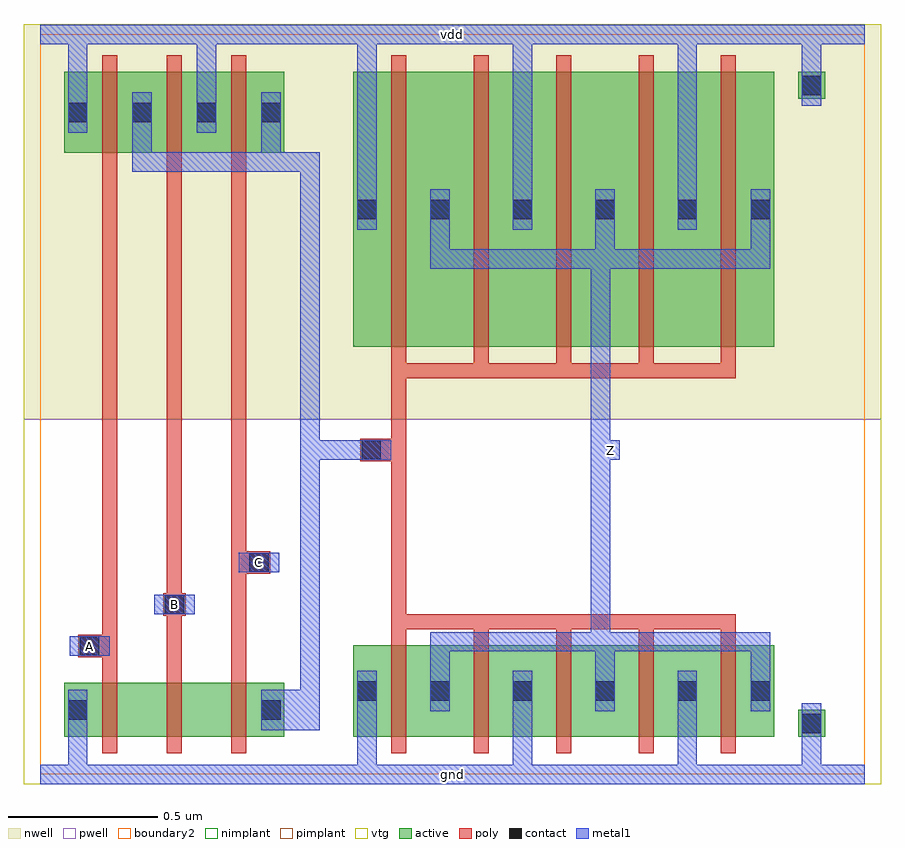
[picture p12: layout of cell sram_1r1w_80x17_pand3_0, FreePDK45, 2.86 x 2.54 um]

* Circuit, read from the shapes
.subckt sram_1r1w_80x17_pand3_0 A B C Z gnd vdd
M1 sram_1r1w_80x17_pnand3_0_0/sram_1r1w_80x17_nmos_m1_w0_180_sm1_dactive_3/D A gnd gnd nfet w=0.18u l=0.05u
M2 sram_1r1w_80x17_pnand3_0_0/sram_1r1w_80x17_nmos_m1_w0_180_sactive_dactive_4/D B sram_1r1w_80x17_pnand3_0_0/sram_1r1w_80x17_nmos_m1_w0_180_sm1_dactive_3/D gnd nfet w=0.18u l=0.05u
M3 sram_1r1w_80x17_pdriver_3_1/A C sram_1r1w_80x17_pnand3_0_0/sram_1r1w_80x17_nmos_m1_w0_180_sactive_dactive_4/D gnd nfet w=0.18u l=0.05u
M4 Z sram_1r1w_80x17_pdriver_3_1/A gnd gnd nfet w=0.305u l=0.05u m=5
M5 sram_1r1w_80x17_pdriver_3_1/A A vdd vdd pfet w=0.27u l=0.05u
M6 vdd B sram_1r1w_80x17_pdriver_3_1/A vdd pfet w=0.27u l=0.05u
M7 sram_1r1w_80x17_pdriver_3_1/A C vdd vdd pfet w=0.27u l=0.05u
M8 Z sram_1r1w_80x17_pdriver_3_1/A vdd vdd pfet w=0.9175u l=0.05u m=5
.ends

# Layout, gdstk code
import gdstk
lib = gdstk.Library(unit=1e-6, precision=5e-10)
def R(c, l, rs):  # rectangles x0, y0, x1, y1
    for r in rs: c.add(gdstk.rectangle(r[:2], r[2:], *l))
def A(c, l, x, y, w, h, nx, ny, dx, dy):  # array of equal rectangles
    R(c, l, [(x+i*dx, y+j*dy, x+i*dx+w, y+j*dy+h) for i in range(nx) for j in range(ny)])
active = (1, 0)
pwell = (2, 0)
nwell = (3, 0)
nimplant = (4, 0)
pimplant = (5, 0)
vtg = (6, 0)
poly = (9, 0)
contact = (10, 0)
metal1 = (11, 0)
boundary2 = (239, 0)

sram_1r1w_80x17_contact_ = lib.new_cell('sram_1r1w_80x17_contact_11')
R(sram_1r1w_80x17_contact_, active, [(0,0.0225,0.09,0.1125)])
R(sram_1r1w_80x17_contact_, nwell, [(-0.055,-0.0325,0.145,0.1675)])
R(sram_1r1w_80x17_contact_, pimplant, [(0,0.0225,0.09,0.1125)])
R(sram_1r1w_80x17_contact_, contact, [(0.0125,0.035,0.0775,0.1)])
R(sram_1r1w_80x17_contact_, metal1, [(0.0125,0,0.0775,0.135)])
R(sram_1r1w_80x17_contact_, boundary2, [(-0.055,-0.0325,0.145,0.1675)])

sram_1r1w_80x17_pmos_m1_ = lib.new_cell('sram_1r1w_80x17_pmos_m1_w0_270_sm1_dm1')
R(sram_1r1w_80x17_pmos_m1_, active, [(0,0,0.305,0.27)])
R(sram_1r1w_80x17_pmos_m1_, nwell, [(-0.08,-0.08,0.385,0.35)])
R(sram_1r1w_80x17_pmos_m1_, pimplant, [(0,0,0.305,0.27)])
R(sram_1r1w_80x17_pmos_m1_, vtg, [(-0.08,-0.08,0.385,0.35)])
R(sram_1r1w_80x17_pmos_m1_, poly, [(0.1275,-0.055,0.1775,0.325), (0.1275,-0.055,0.1775,0.325)])
R(sram_1r1w_80x17_pmos_m1_, metal1, [(0.0125,0.0675,0.0775,0.2025), (0.2275,0.0675,0.2925,0.2025)])
R(sram_1r1w_80x17_pmos_m1_, boundary2, [(-0.08,-0.08,0.385,0.35)])
sram_1r1w_80x17_pmos_m1_.add(gdstk.Reference(sram_1r1w_80x17_contact_, (0,0.0675)))
sram_1r1w_80x17_pmos_m1_.add(gdstk.Reference(sram_1r1w_80x17_contact_, (0.215,0.0675)))
sram_1r1w_80x17_pmos_m1_.add(gdstk.Label('G', (0.1525,0.135), layer=9, texttype=0))
sram_1r1w_80x17_pmos_m1_.add(gdstk.Label('S', (0.045,0.135), layer=11, texttype=0))
sram_1r1w_80x17_pmos_m1_.add(gdstk.Label('D', (0.26,0.135), layer=11, texttype=0))

c_sram_1r1w_80x17_contact_ = lib.new_cell('sram_1r1w_80x17_contact_10')
R(c_sram_1r1w_80x17_contact_, active, [(0,0.0225,0.09,0.1125)])
R(c_sram_1r1w_80x17_contact_, pwell, [(-0.055,-0.0325,0.145,0.1675)])
R(c_sram_1r1w_80x17_contact_, nimplant, [(0,0.0225,0.09,0.1125)])
R(c_sram_1r1w_80x17_contact_, contact, [(0.0125,0.035,0.0775,0.1)])
R(c_sram_1r1w_80x17_contact_, metal1, [(0.0125,0,0.0775,0.135)])
R(c_sram_1r1w_80x17_contact_, boundary2, [(-0.055,-0.0325,0.145,0.1675)])

sram_1r1w_80x17_nmos_m1_ = lib.new_cell('sram_1r1w_80x17_nmos_m1_w0_180_sm1_dactive')
R(sram_1r1w_80x17_nmos_m1_, active, [(0,0,0.305,0.18), (0.215,0.045,0.305,0.135)])
R(sram_1r1w_80x17_nmos_m1_, pwell, [(-0.08,-0.08,0.385,0.26)])
R(sram_1r1w_80x17_nmos_m1_, nimplant, [(0,0,0.305,0.18)])
R(sram_1r1w_80x17_nmos_m1_, vtg, [(-0.08,-0.08,0.385,0.26)])
R(sram_1r1w_80x17_nmos_m1_, poly, [(0.1275,-0.055,0.1775,0.235), (0.1275,-0.055,0.1775,0.235)])
R(sram_1r1w_80x17_nmos_m1_, metal1, [(0.0125,0.0225,0.0775,0.1575)])
R(sram_1r1w_80x17_nmos_m1_, boundary2, [(-0.08,-0.08,0.385,0.26)])
sram_1r1w_80x17_nmos_m1_.add(gdstk.Reference(c_sram_1r1w_80x17_contact_, (0,0.0225)))
sram_1r1w_80x17_nmos_m1_.add(gdstk.Label('G', (0.1525,0.09), layer=9, texttype=0))
sram_1r1w_80x17_nmos_m1_.add(gdstk.Label('S', (0.045,0.09), layer=11, texttype=0))
sram_1r1w_80x17_nmos_m1_.add(gdstk.Label('D', (0.26,0.09), layer=1, texttype=0))

c_sram_1r1w_80x17_nmos_m1_ = lib.new_cell('sram_1r1w_80x17_nmos_m1_w0_180_sactive_dactive')
R(c_sram_1r1w_80x17_nmos_m1_, active, [(0,0,0.305,0.18), (0,0.045,0.09,0.135), (0.215,0.045,0.305,0.135)])
R(c_sram_1r1w_80x17_nmos_m1_, pwell, [(-0.08,-0.08,0.385,0.26)])
R(c_sram_1r1w_80x17_nmos_m1_, nimplant, [(0,0,0.305,0.18)])
R(c_sram_1r1w_80x17_nmos_m1_, vtg, [(-0.08,-0.08,0.385,0.26)])
R(c_sram_1r1w_80x17_nmos_m1_, poly, [(0.1275,-0.055,0.1775,0.235), (0.1275,-0.055,0.1775,0.235)])
R(c_sram_1r1w_80x17_nmos_m1_, boundary2, [(-0.08,-0.08,0.385,0.26)])
c_sram_1r1w_80x17_nmos_m1_.add(gdstk.Label('G', (0.1525,0.09), layer=9, texttype=0))
c_sram_1r1w_80x17_nmos_m1_.add(gdstk.Label('S', (0.045,0.09), layer=1, texttype=0))
c_sram_1r1w_80x17_nmos_m1_.add(gdstk.Label('D', (0.26,0.09), layer=1, texttype=0))

c_sram_1r1w_80x17_nmos_m1__ = lib.new_cell('sram_1r1w_80x17_nmos_m1_w0_180_sactive_dm1')
R(c_sram_1r1w_80x17_nmos_m1__, active, [(0,0,0.305,0.18), (0,0.045,0.09,0.135)])
R(c_sram_1r1w_80x17_nmos_m1__, pwell, [(-0.08,-0.08,0.385,0.26)])
R(c_sram_1r1w_80x17_nmos_m1__, nimplant, [(0,0,0.305,0.18)])
R(c_sram_1r1w_80x17_nmos_m1__, vtg, [(-0.08,-0.08,0.385,0.26)])
R(c_sram_1r1w_80x17_nmos_m1__, poly, [(0.1275,-0.055,0.1775,0.235), (0.1275,-0.055,0.1775,0.235)])
R(c_sram_1r1w_80x17_nmos_m1__, metal1, [(0.2275,0.0225,0.2925,0.1575)])
R(c_sram_1r1w_80x17_nmos_m1__, boundary2, [(-0.08,-0.08,0.385,0.26)])
c_sram_1r1w_80x17_nmos_m1__.add(gdstk.Reference(c_sram_1r1w_80x17_contact_, (0.215,0.0225)))
c_sram_1r1w_80x17_nmos_m1__.add(gdstk.Label('G', (0.1525,0.09), layer=9, texttype=0))
c_sram_1r1w_80x17_nmos_m1__.add(gdstk.Label('S', (0.045,0.09), layer=1, texttype=0))
c_sram_1r1w_80x17_nmos_m1__.add(gdstk.Label('D', (0.26,0.09), layer=11, texttype=0))

c_sram_1r1w_80x17_contact__ = lib.new_cell('sram_1r1w_80x17_contact_14')
R(c_sram_1r1w_80x17_contact__, poly, [(0.03,0,0.105,0.075)])
R(c_sram_1r1w_80x17_contact__, contact, [(0.035,0.005,0.1,0.07)])
R(c_sram_1r1w_80x17_contact__, metal1, [(0,0.005,0.135,0.07)])
R(c_sram_1r1w_80x17_contact__, boundary2, [(0,0,0.135,0.075)])

sram_1r1w_80x17_pnand3_0 = lib.new_cell('sram_1r1w_80x17_pnand3_0')
R(sram_1r1w_80x17_pnand3_0, pwell, [(-0.055,-0.0325,1.02,1.185)])
R(sram_1r1w_80x17_pnand3_0, nwell, [(-0.055,1.185,1.02,2.505)])
R(sram_1r1w_80x17_pnand3_0, vtg, [(-0.055,-0.0325,1.02,1.185), (-0.055,1.185,1.02,2.505)])
A(sram_1r1w_80x17_pnand3_0, poly, 0.2075, 0.36, 0.05, 1.66, 3, 1, 0.215, 0)
R(sram_1r1w_80x17_pnand3_0, poly, [(0.165,0.39,0.2075,0.465), (0.4225,0.53,0.4475,0.605), (0.6375,0.67,0.73,0.745)])
R(sram_1r1w_80x17_pnand3_0, metal1, [(0,-0.0325,0.965,0.0325), (0.0925,-0.0325,0.1575,0.1475), (0.77,0.1475,0.9,0.2825), (0.8675,0.1475,0.9325,2.045), (0.0975,0.395,0.2325,0.46), (0.38,0.535,0.515,0.6), (0.6625,0.675,0.7975,0.74), (0.3075,2.0125,0.3725,2.0775), (0.34,2.0125,0.9,2.0775), (0.7375,2.0125,0.8025,2.0775), (0.77,2.0125,0.9,2.0775), (0.8675,2.0125,0.9325,2.0775), (0.3075,2.045,0.3725,2.21), (0.7375,2.045,0.8025,2.21), (0.0925,2.1425,0.1575,2.5025), (0.5225,2.1425,0.5875,2.5025), (0,2.4375,0.965,2.5025)])
R(sram_1r1w_80x17_pnand3_0, boundary2, [(0,0,0.965,2.47), (0,0,0.965,2.47)])
sram_1r1w_80x17_pnand3_0.add(gdstk.Reference(sram_1r1w_80x17_pmos_m1_, (0.08,2.075)))
sram_1r1w_80x17_pnand3_0.add(gdstk.Reference(sram_1r1w_80x17_pmos_m1_, (0.295,2.075)))
sram_1r1w_80x17_pnand3_0.add(gdstk.Reference(sram_1r1w_80x17_pmos_m1_, (0.51,2.075)))
sram_1r1w_80x17_pnand3_0.add(gdstk.Reference(sram_1r1w_80x17_nmos_m1_, (0.08,0.125)))
sram_1r1w_80x17_pnand3_0.add(gdstk.Reference(c_sram_1r1w_80x17_nmos_m1_, (0.295,0.125)))
sram_1r1w_80x17_pnand3_0.add(gdstk.Reference(c_sram_1r1w_80x17_nmos_m1__, (0.51,0.125)))
sram_1r1w_80x17_pnand3_0.add(gdstk.Reference(c_sram_1r1w_80x17_contact__, (0.0975,0.39)))
sram_1r1w_80x17_pnand3_0.add(gdstk.Reference(c_sram_1r1w_80x17_contact__, (0.38,0.53)))
sram_1r1w_80x17_pnand3_0.add(gdstk.Reference(c_sram_1r1w_80x17_contact__, (0.6625,0.67)))
sram_1r1w_80x17_pnand3_0.add(gdstk.Label('A', (0.165,0.4275), layer=11, texttype=0))
sram_1r1w_80x17_pnand3_0.add(gdstk.Label('B', (0.4475,0.5675), layer=11, texttype=0))
sram_1r1w_80x17_pnand3_0.add(gdstk.Label('C', (0.73,0.7075), layer=11, texttype=0))
sram_1r1w_80x17_pnand3_0.add(gdstk.Label('Z', (0.9,2.045), layer=11, texttype=0))
sram_1r1w_80x17_pnand3_0.add(gdstk.Label('gnd', (0.4825,0), layer=11, texttype=0))
sram_1r1w_80x17_pnand3_0.add(gdstk.Label('vdd', (0.4825,2.47), layer=11, texttype=0))

sram_1r1w_80x17_pmos_m5_ = lib.new_cell('sram_1r1w_80x17_pmos_m5_w0_917_sm1_dm1_da_p')
R(sram_1r1w_80x17_pmos_m5_, active, [(0,0,1.405,0.9175)])
R(sram_1r1w_80x17_pmos_m5_, nwell, [(-0.08,-0.08,1.485,0.9975)])
R(sram_1r1w_80x17_pmos_m5_, pimplant, [(0,0,1.405,0.9175)])
R(sram_1r1w_80x17_pmos_m5_, vtg, [(-0.08,-0.08,1.485,0.9975)])
A(sram_1r1w_80x17_pmos_m5_, poly, 0.1275, -0.055, 0.05, 1.0275, 5, 1, 0.275, 0)
R(sram_1r1w_80x17_pmos_m5_, poly, [(0.1275,-0.105,1.2775,-0.055)])
R(sram_1r1w_80x17_pmos_m5_, metal1, [(0.2575,0.26,1.3925,0.325), (0.2575,0.295,0.3225,0.46), (0.8075,0.295,0.8725,0.46), (1.3275,0.295,1.3925,0.46), (0.0125,0.39,0.0775,0.525), (0.5325,0.39,0.5975,0.525), (1.0825,0.39,1.1475,0.525)])
R(sram_1r1w_80x17_pmos_m5_, boundary2, [(-0.08,-0.105,1.485,0.9975)])
sram_1r1w_80x17_pmos_m5_.add(gdstk.Reference(sram_1r1w_80x17_contact_, (0,0.39)))
sram_1r1w_80x17_pmos_m5_.add(gdstk.Reference(sram_1r1w_80x17_contact_, (0.245,0.39)))
sram_1r1w_80x17_pmos_m5_.add(gdstk.Reference(sram_1r1w_80x17_contact_, (0.52,0.39)))
sram_1r1w_80x17_pmos_m5_.add(gdstk.Reference(sram_1r1w_80x17_contact_, (0.795,0.39)))
sram_1r1w_80x17_pmos_m5_.add(gdstk.Reference(sram_1r1w_80x17_contact_, (1.07,0.39)))
sram_1r1w_80x17_pmos_m5_.add(gdstk.Reference(sram_1r1w_80x17_contact_, (1.315,0.39)))
sram_1r1w_80x17_pmos_m5_.add(gdstk.Label('G', (0.7025,-0.08), layer=9, texttype=0))
sram_1r1w_80x17_pmos_m5_.add(gdstk.Label('S', (1.115,0.4575), layer=11, texttype=0))
sram_1r1w_80x17_pmos_m5_.add(gdstk.Label('S', (0.565,0.4575), layer=11, texttype=0))
sram_1r1w_80x17_pmos_m5_.add(gdstk.Label('S', (0.045,0.4575), layer=11, texttype=0))
sram_1r1w_80x17_pmos_m5_.add(gdstk.Label('D', (0.825,0.2925), layer=11, texttype=0))

sram_1r1w_80x17_nmos_m5_ = lib.new_cell('sram_1r1w_80x17_nmos_m5_w0_305_sm1_dm1_da_p')
R(sram_1r1w_80x17_nmos_m5_, active, [(0,0,1.405,0.305)])
R(sram_1r1w_80x17_nmos_m5_, pwell, [(-0.08,-0.08,1.485,0.385)])
R(sram_1r1w_80x17_nmos_m5_, nimplant, [(0,0,1.405,0.305)])
R(sram_1r1w_80x17_nmos_m5_, vtg, [(-0.08,-0.08,1.485,0.385)])
A(sram_1r1w_80x17_nmos_m5_, poly, 0.1275, -0.055, 0.05, 0.415, 5, 1, 0.275, 0)
R(sram_1r1w_80x17_nmos_m5_, poly, [(0.1275,0.36,1.2775,0.41)])
R(sram_1r1w_80x17_nmos_m5_, metal1, [(0.0125,0.085,0.0775,0.22), (0.5325,0.085,0.5975,0.22), (1.0825,0.085,1.1475,0.22), (0.2575,0.1525,0.3225,0.3175), (0.8075,0.1525,0.8725,0.3175), (1.3275,0.1525,1.3925,0.3175), (0.2575,0.285,1.3925,0.35)])
R(sram_1r1w_80x17_nmos_m5_, boundary2, [(-0.08,-0.08,1.485,0.41)])
sram_1r1w_80x17_nmos_m5_.add(gdstk.Reference(c_sram_1r1w_80x17_contact_, (0,0.085)))
sram_1r1w_80x17_nmos_m5_.add(gdstk.Reference(c_sram_1r1w_80x17_contact_, (0.245,0.085)))
sram_1r1w_80x17_nmos_m5_.add(gdstk.Reference(c_sram_1r1w_80x17_contact_, (0.52,0.085)))
sram_1r1w_80x17_nmos_m5_.add(gdstk.Reference(c_sram_1r1w_80x17_contact_, (0.795,0.085)))
sram_1r1w_80x17_nmos_m5_.add(gdstk.Reference(c_sram_1r1w_80x17_contact_, (1.07,0.085)))
sram_1r1w_80x17_nmos_m5_.add(gdstk.Reference(c_sram_1r1w_80x17_contact_, (1.315,0.085)))
sram_1r1w_80x17_nmos_m5_.add(gdstk.Label('G', (0.7025,0.385), layer=9, texttype=0))
sram_1r1w_80x17_nmos_m5_.add(gdstk.Label('S', (0.045,0.1525), layer=11, texttype=0))
sram_1r1w_80x17_nmos_m5_.add(gdstk.Label('S', (1.115,0.1525), layer=11, texttype=0))
sram_1r1w_80x17_nmos_m5_.add(gdstk.Label('S', (0.565,0.1525), layer=11, texttype=0))
sram_1r1w_80x17_nmos_m5_.add(gdstk.Label('D', (0.825,0.3175), layer=11, texttype=0))

c_sram_1r1w_80x17_contact___ = lib.new_cell('sram_1r1w_80x17_contact_12')
R(c_sram_1r1w_80x17_contact___, active, [(0,0.0225,0.09,0.1125)])
R(c_sram_1r1w_80x17_contact___, nwell, [(-0.055,-0.0325,0.145,0.1675)])
R(c_sram_1r1w_80x17_contact___, nimplant, [(0,0.0225,0.09,0.1125)])
R(c_sram_1r1w_80x17_contact___, contact, [(0.0125,0.035,0.0775,0.1)])
R(c_sram_1r1w_80x17_contact___, metal1, [(0.0125,0,0.0775,0.135)])
R(c_sram_1r1w_80x17_contact___, boundary2, [(-0.055,-0.0325,0.145,0.1675)])

c_sram_1r1w_80x17_contact____ = lib.new_cell('sram_1r1w_80x17_contact_13')
R(c_sram_1r1w_80x17_contact____, active, [(0,0.0225,0.09,0.1125)])
R(c_sram_1r1w_80x17_contact____, pwell, [(-0.055,-0.0325,0.145,0.1675)])
R(c_sram_1r1w_80x17_contact____, pimplant, [(0,0.0225,0.09,0.1125)])
R(c_sram_1r1w_80x17_contact____, contact, [(0.0125,0.035,0.0775,0.1)])
R(c_sram_1r1w_80x17_contact____, metal1, [(0.0125,0,0.0775,0.135)])
R(c_sram_1r1w_80x17_contact____, boundary2, [(-0.055,-0.0325,0.145,0.1675)])

sram_1r1w_80x17_pinv_15 = lib.new_cell('sram_1r1w_80x17_pinv_15')
R(sram_1r1w_80x17_pinv_15, pwell, [(-0.055,-0.0325,1.8425,1.185)])
R(sram_1r1w_80x17_pinv_15, nwell, [(-0.055,1.185,1.8425,2.505)])
R(sram_1r1w_80x17_pinv_15, vtg, [(-0.055,-0.0325,1.8425,1.185), (-0.055,1.185,1.8425,2.505)])
R(sram_1r1w_80x17_pinv_15, poly, [(0.2075,0.535,0.2575,1.3225), (0.14,1.045,0.2075,1.12)])
R(sram_1r1w_80x17_pinv_15, metal1, [(0,-0.0325,1.7875,0.0325), (0.0925,-0.0325,0.1575,0.21), (0.6125,-0.0325,0.6775,0.21), (1.1625,-0.0325,1.2275,0.21), (1.5775,0,1.6425,0.17), (0.8725,0.41,0.9375,1.7525), (0.0725,1.05,0.2075,1.115), (0.905,1.05,0.97,1.115), (0.0925,1.8175,0.1575,2.5025), (0.6125,1.8175,0.6775,2.5025), (1.1625,1.8175,1.2275,2.5025), (1.5775,2.3,1.6425,2.47), (0,2.4375,1.7875,2.5025)])
R(sram_1r1w_80x17_pinv_15, boundary2, [(0,0,1.7875,2.47), (0,0,1.7875,2.47)])
sram_1r1w_80x17_pinv_15.add(gdstk.Reference(sram_1r1w_80x17_pmos_m5_, (0.08,1.4275)))
sram_1r1w_80x17_pinv_15.add(gdstk.Reference(sram_1r1w_80x17_nmos_m5_, (0.08,0.125)))
sram_1r1w_80x17_pinv_15.add(gdstk.Reference(c_sram_1r1w_80x17_contact___, (1.565,2.2325)))
sram_1r1w_80x17_pinv_15.add(gdstk.Reference(c_sram_1r1w_80x17_contact____, (1.565,0.1025)))
sram_1r1w_80x17_pinv_15.add(gdstk.Reference(c_sram_1r1w_80x17_contact__, (0.0725,1.045)))
sram_1r1w_80x17_pinv_15.add(gdstk.Label('A', (0.14,1.0825), layer=11, texttype=0))
sram_1r1w_80x17_pinv_15.add(gdstk.Label('Z', (0.9375,1.0825), layer=11, texttype=0))
sram_1r1w_80x17_pinv_15.add(gdstk.Label('gnd', (0.894,0), layer=11, texttype=0))
sram_1r1w_80x17_pinv_15.add(gdstk.Label('vdd', (0.894,2.47), layer=11, texttype=0))

sram_1r1w_80x17_pdriver_ = lib.new_cell('sram_1r1w_80x17_pdriver_3')
R(sram_1r1w_80x17_pdriver_, pwell, [(-0.055,-0.0325,1.8425,1.185)])
R(sram_1r1w_80x17_pdriver_, nwell, [(-0.055,1.185,1.8425,2.505)])
R(sram_1r1w_80x17_pdriver_, vtg, [(-0.055,-0.0325,1.8425,1.185), (-0.055,1.185,1.8425,2.505)])
R(sram_1r1w_80x17_pdriver_, metal1, [(0,-0.0325,1.7875,0.0325), (0.0725,1.05,0.2075,1.115), (0.905,1.05,0.97,1.115), (0,2.4375,1.7875,2.5025)])
R(sram_1r1w_80x17_pdriver_, boundary2, [(0,0,1.7875,2.47), (0,0,1.7875,2.47)])
sram_1r1w_80x17_pdriver_.add(gdstk.Reference(sram_1r1w_80x17_pinv_15, (0,0)))
sram_1r1w_80x17_pdriver_.add(gdstk.Label('Z', (0.9375,1.0825), layer=11, texttype=0))
sram_1r1w_80x17_pdriver_.add(gdstk.Label('A', (0.14,1.0825), layer=11, texttype=0))
sram_1r1w_80x17_pdriver_.add(gdstk.Label('gnd', (0.894,0), layer=11, texttype=0))
sram_1r1w_80x17_pdriver_.add(gdstk.Label('vdd', (0.894,2.47), layer=11, texttype=0))

sram_1r1w_80x17_pand3_0 = lib.new_cell('sram_1r1w_80x17_pand3_0')
R(sram_1r1w_80x17_pand3_0, metal1, [(0,-0.0325,2.7525,0.0325), (0.0975,0.395,0.2325,0.46), (0.38,0.535,0.515,0.6), (0.6625,0.675,0.7975,0.74), (0.8675,1.05,0.9325,1.115), (0.9,1.05,1.105,1.115), (1.87,1.05,1.935,1.115), (0.8675,1.0825,0.9325,2.045), (0,2.4375,2.7525,2.5025)])
R(sram_1r1w_80x17_pand3_0, boundary2, [(0,0,2.7525,2.47), (0,0,2.7525,2.47)])
sram_1r1w_80x17_pand3_0.add(gdstk.Reference(sram_1r1w_80x17_pnand3_0, (0,0)))
sram_1r1w_80x17_pand3_0.add(gdstk.Reference(sram_1r1w_80x17_pdriver_, (0.965,0)))
sram_1r1w_80x17_pand3_0.add(gdstk.Label('Z', (1.9025,1.0825), layer=11, texttype=0))
sram_1r1w_80x17_pand3_0.add(gdstk.Label('A', (0.165,0.4275), layer=11, texttype=0))
sram_1r1w_80x17_pand3_0.add(gdstk.Label('B', (0.4475,0.5675), layer=11, texttype=0))
sram_1r1w_80x17_pand3_0.add(gdstk.Label('C', (0.73,0.7075), layer=11, texttype=0))
sram_1r1w_80x17_pand3_0.add(gdstk.Label('gnd', (1.376,0), layer=11, texttype=0))
sram_1r1w_80x17_pand3_0.add(gdstk.Label('vdd', (1.376,2.47), layer=11, texttype=0))

lib.write_gds('sram_1r1w_80x17_pand3_0.gds')
